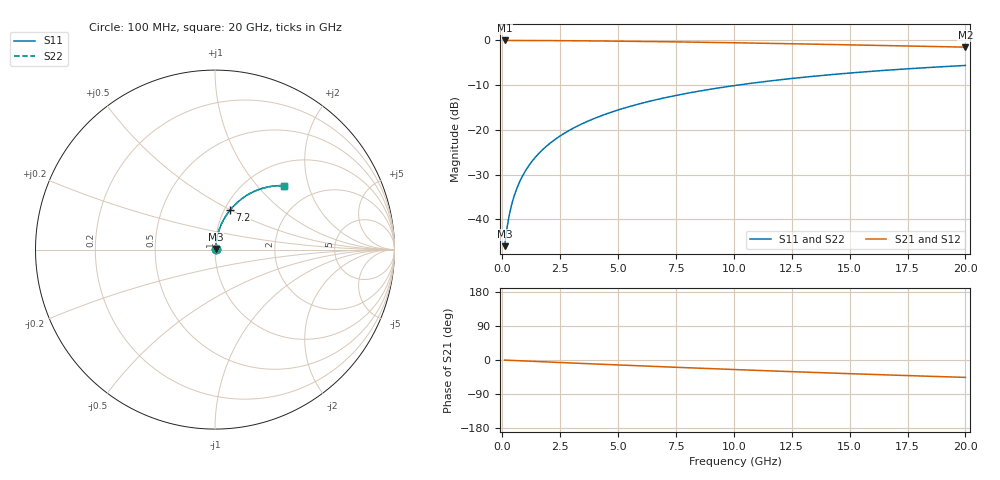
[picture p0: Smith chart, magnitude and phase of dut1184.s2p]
! Touchstone file exported from HFSS 2026.1.0
!  File:  C:/ffzhzh/LocalFiles/Ansys_Project_Files/temp_train_TMRDL_1184_1783162701_55132.aedt
!  Generated:  06:59:38 PM Jul  4, 2026
!  Design:  TMRDL
!  Project:  temp_train_TMRDL_1184_1783162701_55132
! Variables:
!  h_bsmrdl = 2um
!  h_ox = 20um
!  h_rdl = 5um
!  h_sub = 80um
!  h_tmrdl = 5.84um
!  h_tsv = 80um
!  h_via = 3um
!  l_bsmrdl = 300um
!  l_sub = 1003.68um
!  l_tmrdl = 603.68um
!  m_sub = 200um
!  pitch = 53.02um
!  r_tsv = 6um
!  s_tmrdl = 10um
!  w_bsmrdl = 18um
!  w_sub = 500um
!  w_tmrdl = 10.24um
!  x_tsv_center1 = 608.8um
!  x_tsv_center2 = 926.8um
!  x_tsv_center3 = 1540.72um
!  x_tsv_center4 = 1858.72um
!  x_tsv_center5 = 2472.64um
!  x_tsv_center6 = 2790.64um
# GHz S MA R 50.000000
! Terminal data exported
! Port[1] = TM_RDL1_1_T1
! Port[2] = TM_RDL1_1_T2
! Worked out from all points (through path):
!   200 points, 100 MHz to 20 GHz, reference 50 ohm
!   highest |S21| = -0.03 dB at 100 MHz (marker M1); lowest = -1.5 dB at 20 GHz (marker M2)
!   group delay of S21, straight-line fit = 6.38 ps
!   lowest |S11| = -46.0 dB at 100 MHz (marker M3), VSWR 1.01, Z = 50.4 + j0.355 ohm
!   |S11| at or under -10 dB: start of sweep to 10.16 GHz
!   |S22| runs from -46.0 to -5.6 dB; largest |S21 - S12| = 4.5e-15
!   S11 on the Smith chart (normalised r, x): 100 MHz: 1.01, +0.01; 7.2 GHz: 1.06, +0.49; 20 GHz: 1.44, +1.41
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0.1  0.005037 44.3  0.9964 -0.3  0.9964 -0.3  0.005037 44.3
! Gamma 0 0 0 0
! Port Impedance 50 0 50 0
0.2  0.007937 62.2  0.9963 -0.5  0.9963 -0.5  0.007937 62.2
0.3  0.01118 69.9  0.9962 -0.8  0.9962 -0.8  0.01118 69.9
0.4  0.01451 73.9  0.9961 -1.1  0.9961 -1.1  0.01451 73.9
0.5  0.01788 76.3  0.996 -1.3  0.996 -1.3  0.01788 76.3
0.6  0.02127 77.9  0.9959 -1.6  0.9959 -1.6  0.02127 77.9
0.8  0.02807 79.7  0.9956 -2.1  0.9956 -2.1  0.02807 79.7
1.1  0.03831 80.9  0.9951 -2.9  0.9951 -2.9  0.03831 80.9
1.5  0.05195 81.2  0.9943 -4.0  0.9943 -4.0  0.05195 81.2
1.8  0.06214 81.0  0.9935 -4.8  0.9935 -4.8  0.06214 81.0
2.1  0.07229 80.6  0.9926 -5.6  0.9926 -5.6  0.07229 80.6
2.7  0.09241 79.6  0.9905 -7.2  0.9905 -7.2  0.09241 79.6
3.5  0.1188 77.9  0.9869 -9.2  0.9869 -9.2  0.1188 77.9
4.2  0.1415 76.3  0.9833 -11.0  0.9833 -11.0  0.1415 76.3
5  0.1669 74.4  0.9786 -13.1  0.9786 -13.1  0.1669 74.4
6.8  0.2219 70.2  0.9663 -17.5  0.9663 -17.5  0.2219 70.2
7.2  0.2337 69.3  0.9633 -18.5  0.9633 -18.5  0.2337 69.3
8.6  0.2738 66.0  0.9519 -21.9  0.9519 -21.9  0.2738 66.1
10.1  0.3146 62.7  0.9386 -25.4  0.9386 -25.4  0.3146 62.7
13.4  0.3959 55.6  0.9066 -32.7  0.9066 -32.7  0.3959 55.6
16.7  0.4656 48.9  0.8727 -39.6  0.8727 -39.6  0.4656 48.9
20  0.524 42.7  0.8391 -45.9  0.8391 -45.9  0.524 42.8
